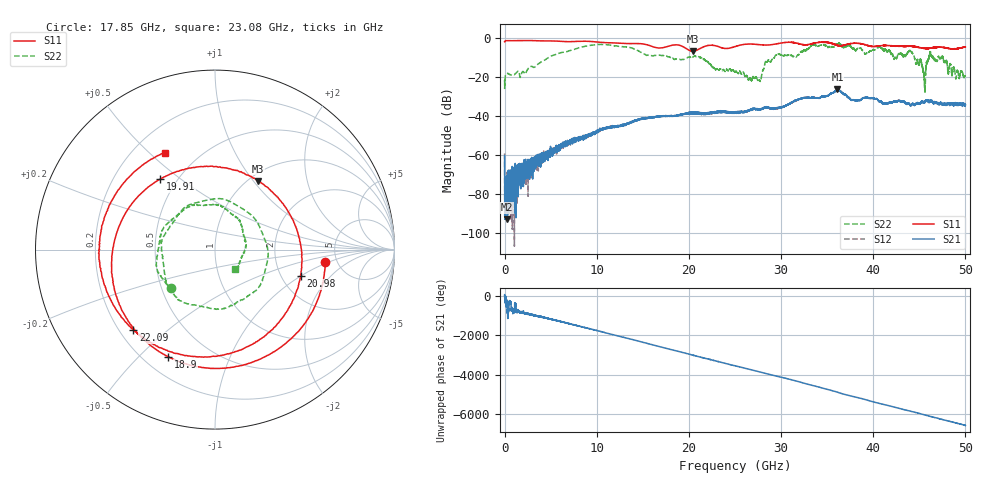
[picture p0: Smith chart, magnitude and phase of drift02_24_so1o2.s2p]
!Created with skrf (http://scikit-rf.org).
# Hz S RI R 50.0
!freq ReS11 ImS11 ReS21 ImS21 ReS12 ImS12 ReS22 ImS22
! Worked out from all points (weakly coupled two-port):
!   10001 points, 300 kHz to 50 GHz, reference 50 ohm
!   highest |S21| = -26.26 dB at 36.12 GHz (marker M1); lowest = -93.0 dB at 300.3 MHz (marker M2)
!   lowest |S11| = -6.9 dB at 20.41 GHz (marker M3), VSWR 2.64, Z = 54.7 + j52.6 ohm
!   |S11| at or under -10 dB: nowhere
!   |S22| runs from -27.8 to -2.5 dB; largest |S21 - S12| = 0.0053
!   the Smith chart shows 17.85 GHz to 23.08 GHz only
!   S11 on the Smith chart (normalised r, x): 17.85 GHz: 4.02, -0.90; 18.9 GHz: 0.30, -0.62; 19.91 GHz: 0.40, +0.42; 20.98 GHz: 2.54, -1.00; 22.09 GHz: 0.26, -0.39; 23.08 GHz: 0.33, +0.56
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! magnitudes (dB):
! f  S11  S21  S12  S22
! 300 kHz  -2.0  -60.4  -59.2  -21.5
! 300.3 MHz  -1.4  -93.0  -80.2  -18.2
! 3.045 GHz  -1.4  -72.3  -65.5  -14.9
! 8.335 GHz  -1.7  -51.2  -51.5  -4.8
! 16.67 GHz  -5.2  -40.4  -40.4  -9.0
! 17.85 GHz  -4.2  -40.0  -40.0  -9.7
! 18.9 GHz  -3.7  -39.6  -39.7  -10.9
! 19.91 GHz  -6.1  -38.7  -38.5  -9.9
! 20.41 GHz  -6.9  -38.4  -38.0  -9.7
! 20.98 GHz  -6.0  -38.8  -38.5  -9.4
! 22.09 GHz  -3.9  -38.5  -38.9  -12.6
! 23.08 GHz  -4.3  -38.1  -38.3  -16.1
! 25 GHz  -4.5  -38.2  -38.5  -17.5
! 27.62 GHz  -3.5  -36.8  -36.7  -21.9
! 28.5 GHz  -3.7  -35.4  -35.5  -12.3
! 33.34 GHz  -3.1  -30.7  -30.6  -3.8
! 36.12 GHz  -3.8  -26.3  -27.1  -3.3
! 41.67 GHz  -4.0  -33.3  -33.4  -6.3
! 44.12 GHz  -4.2  -34.4  -34.5  -7.1
! 45.5 GHz  -5.4  -33.0  -33.0  -18.2
! 46.27 GHz  -5.3  -32.6  -32.5  -9.3
! 50 GHz  -4.7  -34.3  -34.3  -19.2
